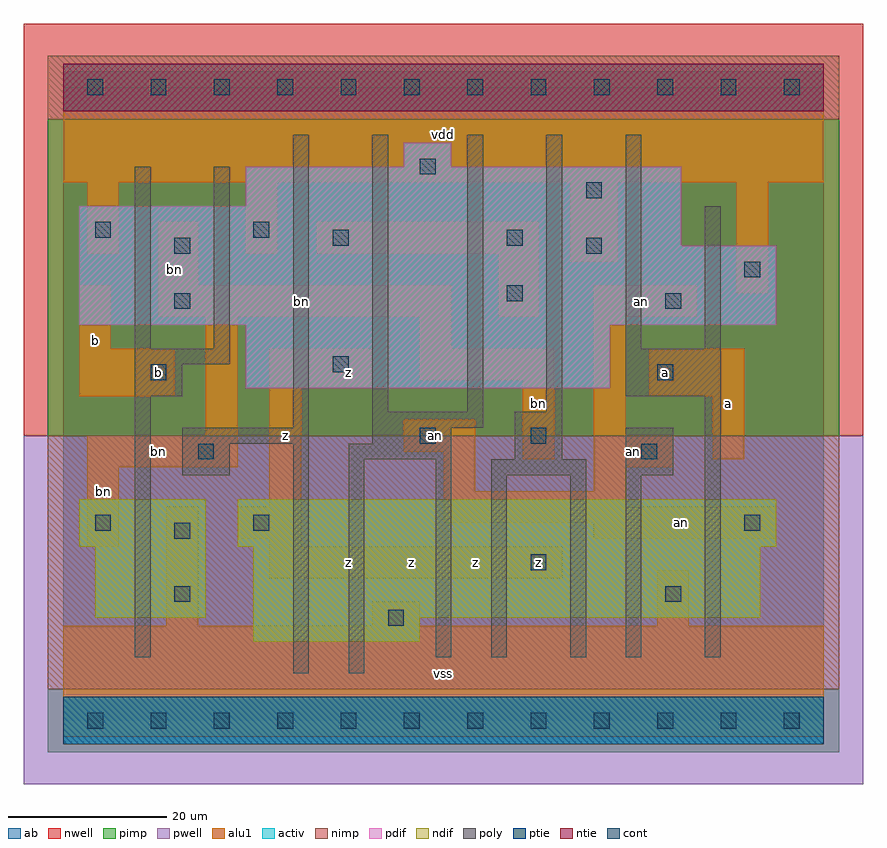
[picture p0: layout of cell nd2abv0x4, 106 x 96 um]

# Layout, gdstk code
import gdstk
lib = gdstk.Library(unit=1e-6, precision=1e-09)
def R(c, l, rs):  # rectangles x0, y0, x1, y1
    for r in rs: c.add(gdstk.rectangle(r[:2], r[2:], *l))
def A(c, l, x, y, w, h, nx, ny, dx, dy):  # array of equal rectangles
    R(c, l, [(x+i*dx, y+j*dy, x+i*dx+w, y+j*dy+h) for i in range(nx) for j in range(ny)])
ndif = (3, 0)
pdif = (4, 0)
ntie = (5, 0)
ptie = (6, 0)
cont = (25, 0)
pwell = (41, 0)
nwell = (42, 0)
activ = (43, 0)
pimp = (44, 0)
nimp = (45, 0)
poly = (46, 0)
alu1 = (49, 0)
ab = (63, 0)

nd2abv0x4 = lib.new_cell('nd2abv0x4')
R(nd2abv0x4, ndif, [(24,10,45,13), (4,13,18,22), (24,13,88,22), (2,22,18,28), (22,22,90,28)])
R(nd2abv0x4, pdif, [(23,42,69,50), (2,50,90,60), (2,60,78,65), (23,65,78,70), (43,70,49,73)])
R(nd2abv0x4, ntie, [(0,77,96,83)])
R(nd2abv0x4, ptie, [(0,-3,96,3)])
A(nd2abv0x4, cont, 3, -1, 2, 2, 12, 2, 8, 80)
R(nd2abv0x4, cont, [(41,12,43,14), (14,15,16,17), (76,15,78,17), (59,19,61,21), (14,23,16,25), (4,24,6,26), (24,24,26,26), (86,24,88,26), (17,33,19,35), (73,33,75,35), (45,35,47,37), (59,35,61,37), (11,43,13,45), (75,43,77,45), (34,44,36,46), (14,52,16,54), (76,52,78,54), (56,53,58,55), (86,56,88,58), (14,59,16,61), (66,59,68,61), (34,60,36,62), (56,60,58,62), (4,61,6,63), (24,61,26,63), (66,66,68,68), (45,69,47,71)])
R(nd2abv0x4, pwell, [(-5,-8,101,36)])
R(nd2abv0x4, nwell, [(-5,36,101,88)])
R(nd2abv0x4, activ, [(0,-3,96,3), (24,10,45,13), (4,13,18,22), (24,13,88,22), (2,22,18,28), (22,22,90,28), (23,42,69,50), (2,50,90,60), (2,60,78,65), (23,65,78,70), (43,70,49,73), (0,77,96,83)])
R(nd2abv0x4, pimp, [(-2,-4,98,4), (-2,36,98,76)])
R(nd2abv0x4, nimp, [(-2,4,98,36), (-2,76,98,84)])
R(nd2abv0x4, poly, [(29,6,31,35), (36,6,38,33), (9,8,11,41), (47,8,49,33), (54,8,56,31), (64,8,66,31), (71,8,73,31), (81,8,83,41), (15,31,21,35), (54,31,66,33), (71,31,77,37), (36,33,49,35), (57,33,63,39), (15,35,31,37), (39,35,49,37), (29,37,31,74), (39,37,53,39), (39,39,41,74), (51,39,53,74), (61,39,63,74), (9,41,15,45), (71,41,83,47), (9,45,21,47), (9,47,11,70), (19,47,21,70), (71,47,73,74), (81,47,83,65)])
R(nd2abv0x4, alu1, [(0,-2,96,12), (13,12,17,27), (39,12,45,15), (75,12,79,19), (26,18,63,22), (3,22,7,32), (26,22,30,23), (22,23,30,27), (67,23,90,25), (48,25,90,27), (26,27,30,42), (48,27,71,29), (48,29,52,34), (67,29,71,32), (3,32,22,36), (67,32,77,36), (58,33,62,43), (82,33,86,41), (43,34,52,38), (18,36,22,51), (67,36,71,51), (2,41,14,47), (74,41,86,47), (26,42,39,47), (45,43,62,47), (2,47,6,55), (45,47,49,51), (12,51,49,55), (55,51,60,59), (67,51,80,55), (85,54,89,68), (12,55,17,63), (64,58,70,68), (3,59,7,68), (23,59,27,68), (32,59,60,63), (0,68,96,82)])
R(nd2abv0x4, ab, [(0,0,96,80)])
nd2abv0x4.add(gdstk.Label('bn', (5,29), layer=49, texttype=0))
nd2abv0x4.add(gdstk.Label('bn', (12,34), layer=49, texttype=0))
nd2abv0x4.add(gdstk.Label('bn', (14,57), layer=49, texttype=0))
nd2abv0x4.add(gdstk.Label('an', (47,36), layer=49, texttype=0))
nd2abv0x4.add(gdstk.Label('bn', (60,40), layer=49, texttype=0))
nd2abv0x4.add(gdstk.Label('bn', (30,53), layer=49, texttype=0))
nd2abv0x4.add(gdstk.Label('an', (72,34), layer=49, texttype=0))
nd2abv0x4.add(gdstk.Label('an', (78,25), layer=49, texttype=0))
nd2abv0x4.add(gdstk.Label('an', (73,53), layer=49, texttype=0))
nd2abv0x4.add(gdstk.Label('b', (12,44), layer=49, texttype=0))
nd2abv0x4.add(gdstk.Label('b', (4,48), layer=49, texttype=0))
nd2abv0x4.add(gdstk.Label('z', (44,20), layer=49, texttype=0))
nd2abv0x4.add(gdstk.Label('z', (36,20), layer=49, texttype=0))
nd2abv0x4.add(gdstk.Label('z', (28,36), layer=49, texttype=0))
nd2abv0x4.add(gdstk.Label('z', (36,44), layer=49, texttype=0))
nd2abv0x4.add(gdstk.Label('vss', (48,6), layer=49, texttype=0))
nd2abv0x4.add(gdstk.Label('z', (60,20), layer=49, texttype=0))
nd2abv0x4.add(gdstk.Label('z', (52,20), layer=49, texttype=0))
nd2abv0x4.add(gdstk.Label('vdd', (48,74), layer=49, texttype=0))
nd2abv0x4.add(gdstk.Label('a', (84,40), layer=49, texttype=0))
nd2abv0x4.add(gdstk.Label('a', (76,44), layer=49, texttype=0))

lib.write_gds('nd2abv0x4.gds')
